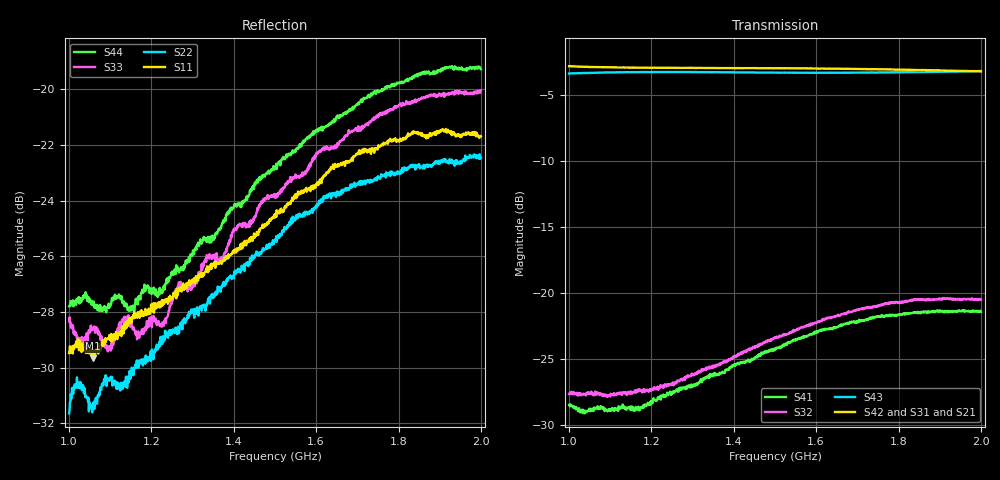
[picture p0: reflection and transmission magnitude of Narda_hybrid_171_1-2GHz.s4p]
#  HZ  S  DB  R  50.00
! Rohde & Schwarz Vector Network Analyzer
! Rohde-Schwarz,ZNB8-4Port,1311601044102961,2.82
! Created: UTC 1/17/2019, 2:16:49 PM
! freq[Hz]  db:S11  ang:S11  db:S12  ang:S12  db:S13  ang:S13  db:S14  ang:S14
!  db:S21  ang:S21  db:S22  ang:S22  db:S23  ang:S23  db:S24  ang:S24
!  db:S31  ang:S31  db:S32  ang:S32  db:S33  ang:S33  db:S34  ang:S34
!  db:S41  ang:S41  db:S42  ang:S42  db:S43  ang:S43  db:S44  ang:S44
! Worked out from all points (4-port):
!   1001 points, 1 GHz to 2 GHz, reference 50 ohm
!   strongest paths, dB at 1 GHz, 1.25 GHz, 1.5 GHz, 1.75 GHz, 2 GHz:
!     S42: -2.8, -3.0, -3.0, -3.1, -3.2
!     S31: -2.9, -3.0, -3.0, -3.1, -3.2
!     S21: -3.3, -3.2, -3.2, -3.2, -3.1
!     S43: -3.4, -3.3, -3.3, -3.3, -3.2
!     S32: -27.7, -26.9, -23.4, -21.0, -20.5
!     S41: -28.5, -27.6, -24.2, -21.8, -21.4
!   lowest |S11| = -29.7 dB at 1.057 GHz (marker M1), VSWR 1.07, Z = 51.5 - j2.99 ohm
!   |S11| at or under -10 dB: start of sweep to end of sweep
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1e9  -29.47 -42.0  -3.31 -162.1  -2.86 108.5  -28.40 171.3
     -3.30 -162.2  -31.64 -46.6  -27.73 172.8  -2.83 107.7
     -2.86 108.5  -27.67 173.0  -28.33 -42.9  -3.39 -161.5
     -28.48 170.4  -2.84 108.1  -3.40 -161.9  -27.79 -51.4
1.057e9  -29.66 -61.8  -3.27 -175.7  -2.91 95.0  -28.77 163.2
         -3.25 -176.0  -31.33 -66.1  -27.70 163.2  -2.89 94.3
         -2.91 95.1  -27.74 163.2  -28.60 -64.1  -3.35 -174.8
         -28.91 162.9  -2.90 94.0  -3.34 -175.4  -27.63 -69.0
1.297e9  -26.90 -136.6  -3.20 127.8  -2.98 38.4  -27.01 127.2
         -3.19 127.4  -27.91 -155.0  -26.22 125.0  -2.96 37.4
         -2.99 38.3  -26.24 125.4  -27.19 -136.7  -3.28 128.4
         -26.94 126.8  -2.97 37.1  -3.28 127.9  -25.99 -150.5
1.485e9  -24.80 171.0  -3.23 82.5  -3.00 -6.8  -24.41 87.7
         -3.21 82.3  -25.64 157.3  -23.48 86.1  -2.99 -8.0
         -3.00 -6.8  -23.56 86.4  -23.87 170.2  -3.33 83.1
         -24.37 86.8  -2.99 -8.3  -3.32 82.5  -22.98 161.9
1.756e9  -22.03 109.5  -3.20 16.9  -3.09 -72.3  -21.80 16.8
         -3.18 16.6  -23.16 100.4  -20.94 15.2  -3.07 -73.9
         -3.09 -72.4  -20.95 15.5  -20.87 107.1  -3.33 17.2
         -21.83 16.1  -3.07 -74.1  -3.32 16.6  -20.07 103.8
1.873e9  -21.68 84.3  -3.14 -11.5  -3.16 -100.6  -21.54 -14.6
         -3.13 -11.9  -22.71 78.4  -20.53 -17.8  -3.14 -102.2
         -3.15 -100.6  -20.53 -17.5  -20.24 80.4  -3.28 -11.3
         -21.47 -15.2  -3.14 -102.5  -3.28 -11.9  -19.36 81.5
2e9  -21.69 56.2  -3.08 -42.2  -3.24 -131.1  -21.45 -47.7
     -3.06 -42.6  -22.46 54.0  -20.45 -52.3  -3.22 -132.9
     -3.24 -131.1  -20.50 -51.6  -20.04 49.9  -3.21 -41.9
     -21.43 -48.5  -3.23 -133.1  -3.21 -42.5  -19.28 55.9
